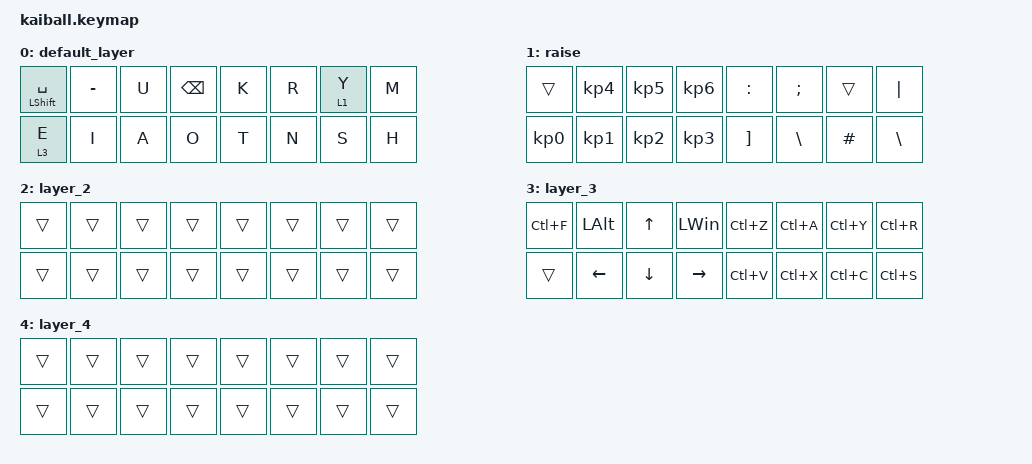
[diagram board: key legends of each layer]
#include <dt-bindings/zmk/mouse.h>
#include <behaviors/mouse_keys.dtsi>
#include <behaviors.dtsi>
#include <dt-bindings/zmk/keys.h>

/ {
    combos {
        compatible = "zmk,combos";

        g {
            bindings = <&kp G>;
            key-positions = <4 12>;
        };

        d {
            bindings = <&kp D>;
            key-positions = <13 5>;
        };

        b {
            bindings = <&kp B>;
            key-positions = <7 15>;
        };

        p {
            bindings = <&kp P>;
            key-positions = <12 7>;
        };

        j {
            bindings = <&kp J>;
            key-positions = <14 6>;
        };

        z {
            bindings = <&kp Z>;
            key-positions = <12 13>;
        };

        c {
            bindings = <&kp C>;
            key-positions = <12 14>;
        };

        v {
            bindings = <&kp V>;
            key-positions = <12 15>;
        };

        x {
            bindings = <&kp X>;
            key-positions = <13 14 15>;
        };

        l {
            bindings = <&kp L>;
            key-positions = <5 7>;
        };

        f {
            bindings = <&kp F>;
            key-positions = <4 7>;
        };

        q {
            bindings = <&kp Q>;
            key-positions = <12 7>;
        };

        comm {
            bindings = <&kp COMMA>;
            key-positions = <2 1>;
            layers = <0>;
        };

        dot {
            bindings = <&kp PERIOD>;
            key-positions = <3 2>;
            layers = <0>;
        };

        lang {
            bindings = <&kp GRAVE>;
            key-positions = <3 4>;
            layers = <0>;
        };

        enter {
            bindings = <&kp ENTER>;
            key-positions = <11 3>;
            layers = <0>;
        };

        tab {
            bindings = <&kp TAB>;
            key-positions = <1 8>;
            layers = <0>;
        };

        seven {
            bindings = <&kp KP_NUMBER_7>;
            key-positions = <1 9>;
            layers = <1>;
        };

        eight {
            bindings = <&kp KP_NUMBER_8>;
            key-positions = <2 10>;
            layers = <1>;
        };

        nine {
            bindings = <&kp KP_NUMBER_9>;
            key-positions = <3 11>;
            layers = <1>;
        };

        bikkuri {
            bindings = <&kp EXCLAMATION>;
            key-positions = <1 9>;
            layers = <0>;
        };

        migikakko {
            bindings = <&kp LS(N8)>;
            key-positions = <1 3>;
            layers = <0>;
        };

        hidarikakko {
            bindings = <&kp LEFT_PARENTHESIS>;
            key-positions = <11 9>;
            layers = <0>;
        };

        nakatenslashhatena {
            bindings = <&kp QUESTION>;
            key-positions = <2 10>;
            layers = <0>;
        };

        quoteanddouble {
            bindings = <&kp SINGLE_QUOTE>;
            key-positions = <1 2>;
            layers = <0>;
        };

        backquote {
            bindings = <&kp GRAVE>;
            key-positions = <2 3>;
            layers = <1>;
        };

        persent {
            bindings = <&mkp MB1>;
            key-positions = <4 13>;
        };

        and {
            bindings = <&kp AMPERSAND>;
            key-positions = <15 7>;
            layers = <1>;
        };

        w {
            bindings = <&kp W>;
            key-positions = <14 13>;
        };

        mb2 {
            bindings = <&mkp MB2>;
            key-positions = <4 14>;
        };
    };

    keymap {
        compatible = "zmk,keymap";

        default_layer {
            // ------------------------------------------------------------------------------------------
            // | SW1 | SW2 | SW3 | SW4 | SW5 | SW6 | SW7 | SW8 |  
            // | SW9 | SW10 | SW11 | SW12 | SW13 | SW14 | SW15 | SW16 |   
            // ------------------------------------------------------------------------------------------

            bindings = <
&mt LEFT_SHIFT SPACE  &kp MINUS  &kp U  &kp BACKSPACE  &kp K  &kp R  &lt 1 Y  &kp M
&lt 3 E               &kp I      &kp A  &kp O          &kp T  &kp N  &kp S    &kp H
            >;
        };

        raise {
            bindings = <
&trans           &kp KP_NUMBER_4  &kp KP_NUMBER_5  &kp KP_NUMBER_6  &kp COLON  &kp SEMICOLON  &trans    &kp PIPE
&kp KP_NUMBER_0  &kp KP_NUMBER_1  &kp KP_NUMBER_2  &kp KP_NUMBER_3  &kp RBKT   &kp BACKSLASH  &kp HASH  &kp BACKSLASH
            >;
        };

        layer_2 {
            bindings = <
&trans  &trans  &trans  &trans  &trans  &trans  &trans  &trans
&trans  &trans  &trans  &trans  &trans  &trans  &trans  &trans
            >;
        };

        layer_3 {
            bindings = <
&kp LC(F)  &kp LEFT_ALT    &kp UP_ARROW    &kp LEFT_WIN     &kp LC(Z)  &kp LC(A)  &kp LC(Y)  &kp LC(R)
&trans     &kp LEFT_ARROW  &kp DOWN_ARROW  &kp RIGHT_ARROW  &kp LC(V)  &kp LC(X)  &kp LC(C)  &kp LC(S)
            >;
        };

        layer_4 {
            bindings = <
&trans  &trans  &trans  &trans  &trans  &trans  &trans  &trans
&trans  &trans  &trans  &trans  &trans  &trans  &trans  &trans
            >;
        };
    };
};
